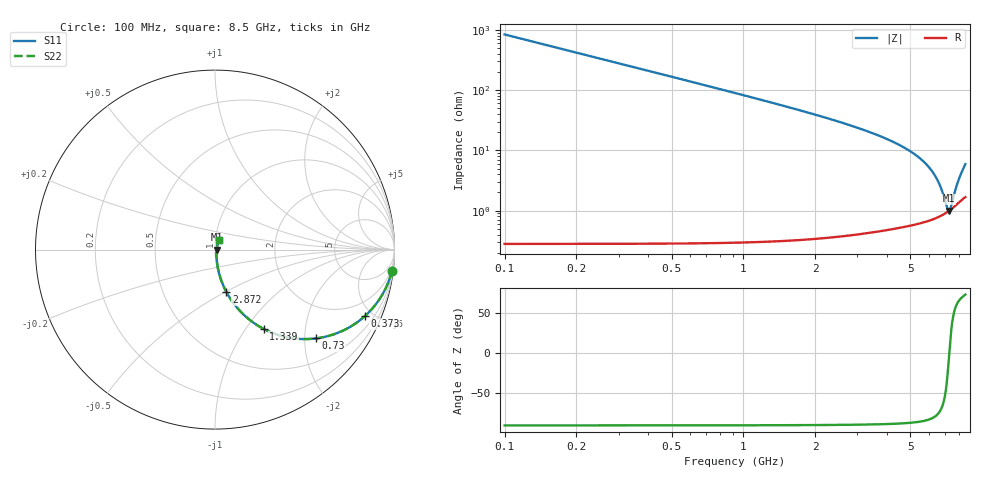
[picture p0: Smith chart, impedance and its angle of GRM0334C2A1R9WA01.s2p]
!Murata Part Number: GRM0334C2A1R9WA01
!These Parameters are Measured in Series Mode Connection
!Data Generated on Mar 30, 2021
!  o--ll--o
!Port1  Port2
!  o------o
!Operation Temp=25[degC], DC Bias Voltage=0[V]
!Freq. Start=100[MHz] Stop=9[GHz] 401[Steps]
# Hz S RI R 50
!Freq.(Hz) S11(Real) S11(Imag) S21(Real) S21(Imag) S12(Real) S12(Imag) S22(Real) S22(Imag)
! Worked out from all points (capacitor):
!   401 points, 100 MHz to 8.5 GHz, reference 50 ohm
!   read as one part in series: C = 1.9 pF near 142 MHz
!   lowest |Z| = 992 mohm at 7.24 GHz (marker M1)
!   series resonance near 7.272 GHz, so ESL is about 250 pH
!   S11 on the Smith chart (normalised r, x): 100 MHz: 1, -17; 373 MHz: 1.01, -4.48; 730 MHz: 1.01, -2.27; 1.339 GHz: 1.01, -1.21; 2.872 GHz: 1.01, -0.50; 8.5 GHz: 1.03, +0.11
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1e8  0.9859 -0.1177  0.0141 0.1177  0.0141 0.1177  0.9859 -0.1177
2.26e8  0.9319 -0.2516  0.0681 0.2516  0.0681 0.2516  0.9319 -0.2516
3.73e8  0.8336 -0.3718  0.1664 0.3718  0.1664 0.3718  0.8336 -0.3718
5.41e8  0.7033 -0.4559  0.2967 0.4559  0.2967 0.4559  0.7033 -0.4559
7.3e8  0.5638 -0.4946  0.4362 0.4946  0.4362 0.4946  0.5638 -0.4946
1.024e9  0.3929 -0.4866  0.6071 0.4866  0.6071 0.4866  0.3929 -0.4866
1.339e9  0.2703 -0.4416  0.7297 0.4416  0.7297 0.4416  0.2703 -0.4416
1.507e9  0.2239 -0.4139  0.7761 0.4139  0.7761 0.4139  0.2239 -0.4139
2.074e9  0.1256 -0.3269  0.8744 0.3269  0.8744 0.3269  0.1256 -0.3269
2.872e9  0.0629 -0.235  0.9371 0.235  0.9371 0.235  0.0629 -0.235
2.914e9  0.0608 -0.2311  0.9392 0.2311  0.9392 0.2311  0.0608 -0.2311
4.3e9  0.0224 -0.1306  0.9776 0.1306  0.9776 0.1306  0.0224 -0.1306
5.707e9  0.0103 -0.0627  0.9897 0.0627  0.9897 0.0627  0.0103 -0.0627
6.169e9  0.00897 -0.0437  0.991 0.0437  0.991 0.0437  0.00897 -0.0437
6.526e9  0.00858 -0.0295  0.9914 0.0295  0.9914 0.0295  0.00858 -0.0295
6.799e9  0.0087 -0.0187  0.9913 0.0187  0.9913 0.0187  0.0087 -0.0187
7.114e9  0.00933 -0.00631  0.9907 0.00631  0.9907 0.00631  0.00933 -0.00631
7.24e9  0.00974 -0.0013  0.9903 0.0013  0.9903 0.0013  0.00974 -0.0013
7.366e9  0.0103 0.00376  0.9897 -0.00376  0.9897 -0.00376  0.0103 0.00376
7.702e9  0.0122 0.0176  0.9878 -0.0176  0.9878 -0.0176  0.0122 0.0176
7.933e9  0.0139 0.0274  0.9861 -0.0274  0.9861 -0.0274  0.0139 0.0274
8.5e9  0.0195 0.0548  0.9805 -0.0548  0.9805 -0.0548  0.0195 0.0548
